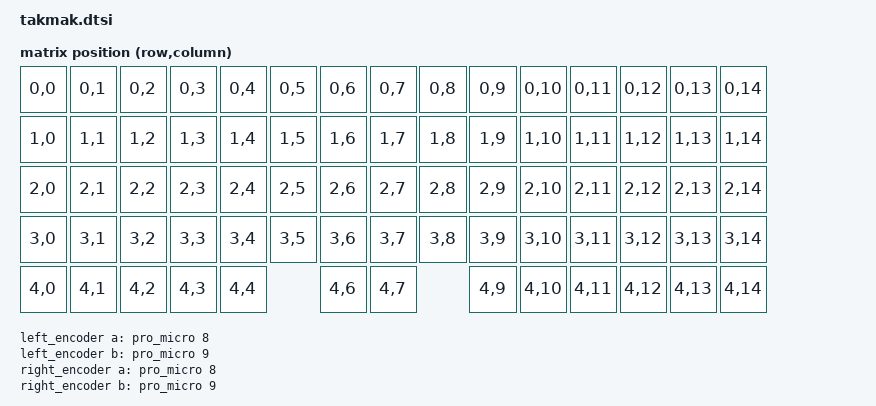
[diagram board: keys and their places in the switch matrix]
/*
 * Copyright (c) 2020 Pete Johanson
 *
 * SPDX-License-Identifier: MIT
 */

#include <dt-bindings/zmk/matrix_transform.h>
#include <dt-bindings/led/led.h>

/ {
	chosen {
		zmk,kscan = &kscan0;
    zephyr,display = &oled;
		zmk,matrix_transform = &default_transform;
	};

  left_encoder: encoder_left {
      compatible = "alps,ec11";
      a-gpios = <&pro_micro 8 (GPIO_ACTIVE_HIGH | GPIO_PULL_UP)>;
      b-gpios = <&pro_micro 9 (GPIO_ACTIVE_HIGH | GPIO_PULL_UP)>;
      steps = <20>;
      status = "disabled";
  };

  right_encoder: encoder_right {
      compatible = "alps,ec11";
      a-gpios = <&pro_micro 8 (GPIO_ACTIVE_HIGH | GPIO_PULL_UP)>;
      b-gpios = <&pro_micro 9 (GPIO_ACTIVE_HIGH | GPIO_PULL_UP)>;
      steps = <20>;
      status = "disabled";
  };

  sensors: sensors {
      compatible = "zmk,keymap-sensors";
      sensors = <&left_encoder &right_encoder>;
      triggers-per-rotation = <20>;
  };

	default_transform: keymap_transform_0 {
		compatible = "zmk,matrix-transform";
		columns = <15>;
		rows = <5>;
		map = <
RC(0,0) RC(0,1) RC(0,2) RC(0,3) RC(0,4) RC(0,5) RC(0,6)  RC(0,7) RC(0,8) RC(0,9) RC(0,10) RC(0,11) RC(0,12) RC(0,13) RC(0,14)
RC(1,0) RC(1,1) RC(1,2) RC(1,3) RC(1,4) RC(1,5) RC(1,6)  RC(1,7) RC(1,8) RC(1,9) RC(1,10) RC(1,11) RC(1,12) RC(1,13) RC(1,14)
RC(2,0) RC(2,1) RC(2,2) RC(2,3) RC(2,4) RC(2,5) RC(2,6)  RC(2,7) RC(2,8) RC(2,9) RC(2,10) RC(2,11) RC(2,12) RC(2,13) RC(2,14)
RC(3,0) RC(3,1) RC(3,2) RC(3,3) RC(3,4) RC(3,5) RC(3,6)  RC(3,7) RC(3,8) RC(3,9) RC(3,10) RC(3,11) RC(3,12) RC(3,13) RC(3,14)
RC(4,0) RC(4,1) RC(4,2) RC(4,3) RC(4,4)         RC(4,6)  RC(4,7)         RC(4,9) RC(4,10) RC(4,11) RC(4,12) RC(4,13) RC(4,14)
		>;
	};

	kscan0: kscan {
		compatible = "zmk,kscan-gpio-matrix";
		label = "KSCAN";

		diode-direction = "col2row";
	};
};

&pro_micro_i2c {
    status = "okay";

    oled: ssd1306@3c {
        compatible = "solomon,ssd1306fb";
        reg = <0x3c>;
        width = <128>;
        height = <32>;
        segment-offset = <0>;
        page-offset = <0>;
        display-offset = <0>;
        multiplex-ratio = <31>;
        segment-remap;
        com-invdir;
        com-sequential;
        inversion-on;
        prechargep = <0x22>;
    };
};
